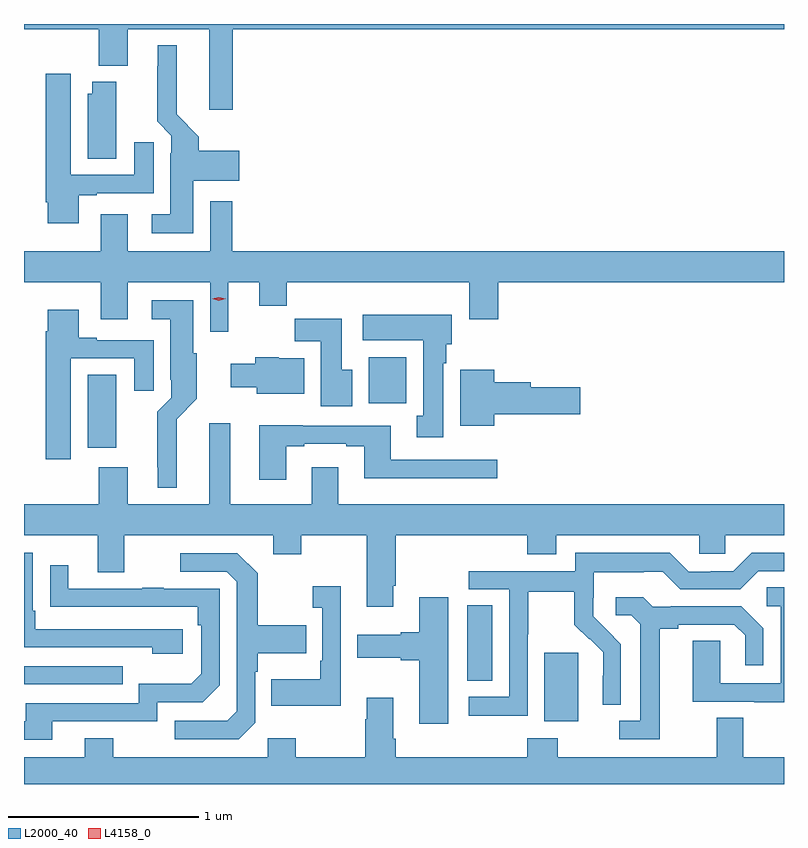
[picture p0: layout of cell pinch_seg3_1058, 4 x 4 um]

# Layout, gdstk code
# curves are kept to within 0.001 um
import gdstk
lib = gdstk.Library(unit=1e-6, precision=1e-09)
def R(c, l, rs):  # rectangles x0, y0, x1, y1
    for r in rs: c.add(gdstk.rectangle(r[:2], r[2:], *l))
def P(c, l, *ps):  # polygons
    for p in ps: c.add(gdstk.Polygon(p, *l))
L2000_40 = (2000, 40)
L4158_0 = (4158, 0)

pinch_seg3_1058 = lib.new_cell('pinch_seg3_1058')
R(pinch_seg3_1058, L2000_40, [(266.555,715.922,266.734,716.283), (263.816,716.115,264.335,716.211), (266.15,716.134,266.281,716.531), (264.152,717.362,264.301,717.746), (265.631,717.596,265.828,717.838)])
P(pinch_seg3_1058, L2000_40, [(264.914,719.564),(267.816,719.564),(267.816,719.591),(263.816,719.591),(263.816,719.564),(264.209,719.564),(264.209,719.372),(264.361,719.372),(264.361,719.564),(264.791,719.564),(264.791,719.139),(264.914,719.139)],
  [(264.706,718.766),(264.949,718.766),(264.949,718.924),(264.737,718.924),(264.737,718.998),(264.619,719.116),(264.619,719.479),(264.521,719.479),(264.521,719.369),(264.517,719.369),(264.517,719.078),(264.591,719.004),(264.591,718.91),(264.587,718.91),(264.587,718.591),(264.489,718.591),(264.489,718.49),(264.706,718.49)],
  [(264.103,718.689),(264.199,718.689),(264.199,718.701),(264.499,718.701),(264.499,718.969),(264.395,718.969),(264.395,718.797),(264.061,718.797),(264.061,719.329),(263.93,719.329),(263.93,718.654),(263.942,718.654),(263.942,718.542),(264.103,718.542)],
  [(264.301,719.287),(264.176,719.287),(264.176,719.223),(264.152,719.223),(264.152,718.882),(264.301,718.882)],
  [(264.892,718.232),(265.055,718.232),(265.055,718.108),(265.199,718.108),(265.199,718.232),(266.159,718.232),(266.159,718.038),(266.312,718.038),(266.312,718.232),(267.816,718.232),(267.816,718.396),(264.911,718.396),(264.911,718.657),(264.795,718.657),(264.795,718.396),(264.361,718.396),(264.361,718.591),(264.221,718.591),(264.221,718.396),(263.816,718.396),(263.816,718.232),(264.221,718.232),(264.221,718.038),(264.361,718.038),(264.361,718.232),(264.795,718.232),(264.795,717.972),(264.892,717.972)],
  [(264.619,717.512),(264.724,717.618),(264.724,717.858),(264.706,717.858),(264.706,718.138),(264.489,718.138),(264.489,718.037),(264.587,718.037),(264.587,717.718),(264.591,717.718),(264.591,717.624),(264.517,717.55),(264.517,717.259),(264.521,717.259),(264.521,717.149),(264.619,717.149)],
  [(264.061,717.831),(264.395,717.831),(264.395,717.66),(264.499,717.66),(264.499,717.927),(264.199,717.927),(264.199,717.94),(264.103,717.94),(264.103,718.087),(263.942,718.087),(263.942,717.974),(263.93,717.974),(263.93,717.3),(264.061,717.3)],
  [(266.023,717.806),(266.038,717.806),(266.038,717.906),(266.068,717.906),(266.068,718.06),(265.599,718.06),(265.599,717.926),(265.916,717.926),(265.916,717.53),(265.883,717.53),(265.883,717.417),(266.023,717.417)],
  [(265.543,717.772),(265.489,717.772),(265.489,718.039),(265.24,718.039),(265.24,717.92),(265.379,717.92),(265.379,717.579),(265.543,717.579)],
  [(265.291,717.832),(265.158,717.832),(265.158,717.838),(265.033,717.838),(265.033,717.802),(264.903,717.802),(264.903,717.68),(265.04,717.68),(265.04,717.644),(265.291,717.644)],
  [(266.29,717.538),(266.743,717.538),(266.743,717.68),(266.482,717.68),(266.482,717.705),(266.29,717.705),(266.29,717.772),(266.111,717.772),(266.111,717.476),(266.29,717.476)],
  [(264.343,716.9),(265.127,716.9),(265.127,716.801),(265.275,716.801),(265.275,716.9),(265.619,716.9),(265.619,716.523),(265.759,716.523),(265.759,716.635),(265.772,716.635),(265.772,716.9),(266.465,716.9),(266.465,716.801),(266.617,716.801),(266.617,716.9),(267.369,716.9),(267.369,716.802),(267.507,716.802),(267.507,716.9),(267.816,716.9),(267.816,717.064),(265.471,717.064),(265.471,717.259),(265.331,717.259),(265.331,717.064),(264.901,717.064),(264.901,717.49),(264.791,717.49),(264.791,717.064),(264.361,717.064),(264.361,717.259),(264.209,717.259),(264.209,717.064),(263.816,717.064),(263.816,716.9),(264.203,716.9),(264.203,716.706),(264.343,716.706)],
  [(265.195,717.369),(265.291,717.369),(265.291,717.381),(265.511,717.381),(265.511,717.369),(265.607,717.369),(265.607,717.2),(266.308,717.2),(266.308,717.297),(265.747,717.297),(265.747,717.477),(265.283,717.477),(265.283,717.478),(265.055,717.478),(265.055,717.192),(265.195,717.192)],
  [(266.466,716.38),(266.469,716.38),(266.469,716.604),(266.713,716.604),(266.713,716.429),(266.79,716.352),(266.793,716.355),(266.864,716.285),(266.864,716.162),(266.862,716.162),(266.862,716.008),(266.958,716.008),(266.958,716.326),(266.812,716.474),(266.812,716.571),(266.814,716.571),(266.814,716.705),(267.077,716.705),(267.077,716.709),(267.177,716.709),(267.27,716.616),(267.585,716.616),(267.681,716.712),(267.816,716.712),(267.816,716.808),(267.645,716.808),(267.549,716.712),(267.431,716.712),(267.431,716.709),(267.315,716.709),(267.215,716.809),(266.718,716.809),(266.718,716.712),(266.157,716.712),(266.157,716.616),(266.37,716.616),(266.37,716.049),(266.157,716.049),(266.157,715.951),(266.466,715.951)],
  [(264.652,716.406),(263.875,716.406),(263.875,716.503),(263.862,716.503),(263.862,716.808),(263.816,716.808),(263.816,716.31),(264.491,716.31),(264.491,716.276),(264.652,716.276)],
  [(265.032,715.914),(265.032,716.183),(265.045,716.183),(265.045,716.279),(265.301,716.279),(265.301,716.427),(265.045,716.427),(265.045,716.699),(264.939,716.805),(264.639,716.805),(264.639,716.709),(264.882,716.709),(264.936,716.655),(264.936,715.974),(264.885,715.923),(264.609,715.923),(264.609,715.827),(264.945,715.827)],
  [(263.965,715.92),(264.516,715.92),(264.516,716.022),(264.756,716.022),(264.846,716.112),(264.846,716.619),(264.551,716.619),(264.551,716.624),(264.439,716.624),(264.439,716.619),(264.049,716.619),(264.049,716.743),(263.953,716.743),(263.953,716.524),(264.73,716.523),(264.73,716.426),(264.75,716.426),(264.75,716.172),(264.697,716.119),(264.42,716.119),(264.42,716.016),(263.825,716.016),(263.825,715.92),(263.816,715.92),(263.816,715.824),(263.965,715.824)],
  [(265.482,716.632),(265.335,716.632),(265.335,716.519),(265.386,716.519),(265.386,716.239),(265.374,716.239),(265.374,716.143),(265.117,716.143),(265.117,716.003),(265.482,716.003)],
  [(267.816,716.627),(267.726,716.627),(267.726,716.526),(267.798,716.526),(267.798,716.121),(267.48,716.121),(267.48,716.345),(267.335,716.345),(267.335,716.025),(267.659,716.025),(267.659,716.021),(267.816,716.021)],
  [(267.163,716.408),(267.259,716.408),(267.259,716.43),(267.554,716.43),(267.611,716.373),(267.611,716.217),(267.708,716.217),(267.708,716.41),(267.592,716.526),(267.22,716.526),(267.22,716.523),(267.126,716.523),(267.074,716.575),(266.931,716.575),(266.931,716.478),(267.012,716.478),(267.059,716.431),(267.059,715.923),(266.949,715.923),(266.949,715.827),(267.163,715.827)],
  [(266.05,716.575),(265.895,716.575),(265.895,716.39),(265.799,716.39),(265.799,716.377),(265.569,716.377),(265.569,716.255),(265.799,716.255),(265.799,716.243),(265.895,716.243),(265.895,715.908),(266.05,715.908)],
  [(267.816,715.732),(267.601,715.732),(267.601,715.94),(267.461,715.94),(267.461,715.732),(266.625,715.732),(266.625,715.831),(266.465,715.831),(266.465,715.732),(265.772,715.732),(265.772,715.828),(265.759,715.828),(265.759,716.044),(265.619,716.044),(265.619,715.931),(265.612,715.931),(265.612,715.732),(265.245,715.732),(265.245,715.831),(265.098,715.831),(265.098,715.732),(264.285,715.732),(264.285,715.831),(264.137,715.831),(264.137,715.732),(263.816,715.732),(263.816,715.591),(267.816,715.591)])
P(pinch_seg3_1058, L4158_0, [(264.842,718.134),(264.807,718.144),(264.807,718.144),(264.807,718.144),(264.842,718.154),(264.877,718.144),(264.877,718.144),(264.877,718.144)])

lib.write_gds('pinch_seg3_1058.gds')
